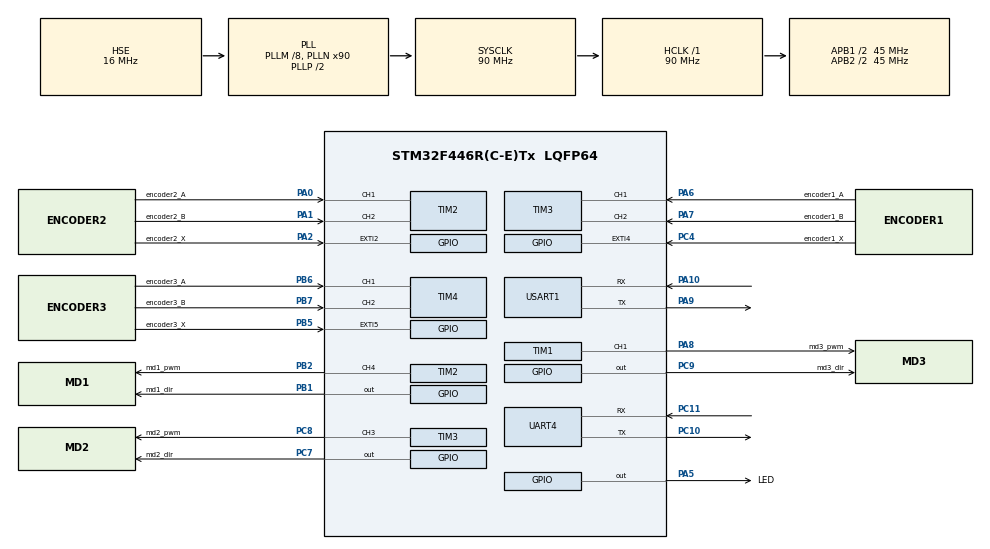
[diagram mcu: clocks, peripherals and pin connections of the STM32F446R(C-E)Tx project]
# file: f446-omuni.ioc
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Dma.Request0=UART4_TX
Dma.Request1=UART4_RX
Dma.UART4_RX.1.Direction=DMA_PERIPH_TO_MEMORY
Dma.UART4_RX.1.FIFOMode=DMA_FIFOMODE_DISABLE
Dma.UART4_RX.1.Instance=DMA1_Stream2
Dma.UART4_RX.1.MemDataAlignment=DMA_MDATAALIGN_BYTE
Dma.UART4_RX.1.MemInc=DMA_MINC_ENABLE
Dma.UART4_RX.1.Mode=DMA_CIRCULAR
Dma.UART4_RX.1.PeriphDataAlignment=DMA_PDATAALIGN_BYTE
Dma.UART4_RX.1.PeriphInc=DMA_PINC_DISABLE
Dma.UART4_RX.1.Priority=DMA_PRIORITY_VERY_HIGH
Dma.UART4_TX.0.Direction=DMA_MEMORY_TO_PERIPH
Dma.UART4_TX.0.FIFOMode=DMA_FIFOMODE_DISABLE
Dma.UART4_TX.0.Instance=DMA1_Stream4
Dma.UART4_TX.0.MemDataAlignment=DMA_MDATAALIGN_BYTE
Dma.UART4_TX.0.MemInc=DMA_MINC_ENABLE
Dma.UART4_TX.0.Mode=DMA_NORMAL
Dma.UART4_TX.0.PeriphDataAlignment=DMA_PDATAALIGN_BYTE
Dma.UART4_TX.0.PeriphInc=DMA_PINC_DISABLE
Dma.UART4_TX.0.Priority=DMA_PRIORITY_VERY_HIGH
FREERTOS.Tasks01=defaultTask,24,3000,StartDefaultTask,Default,NULL,Static,defaultTaskBuffer,defaultTaskControlBlock
FREERTOS.configMINIMAL_STACK_SIZE=3000
FREERTOS.configUSE_NEWLIB_REENTRANT=1
Mcu.Family=STM32F4
Mcu.Name=STM32F446R(C-E)Tx
Mcu.Package=LQFP64
NVIC.DMA1_Stream2_IRQn=true\:5\:0\:false\:false\:true\:true\:false\:true\:true
NVIC.DMA1_Stream4_IRQn=true\:5\:0\:false\:false\:true\:true\:false\:true\:true
NVIC.EXTI2_IRQn=true\:5\:0\:false\:false\:true\:true\:true\:true\:true
NVIC.EXTI4_IRQn=true\:5\:0\:false\:false\:true\:true\:true\:true\:true
NVIC.EXTI9_5_IRQn=true\:5\:0\:false\:false\:true\:true\:true\:true\:true
NVIC.PriorityGroup=NVIC_PRIORITYGROUP_4
NVIC.TIM8_TRG_COM_TIM14_IRQn=true\:15\:0\:false\:false\:true\:false\:false\:true\:true
NVIC.TimeBase=TIM8_TRG_COM_TIM14_IRQn
NVIC.TimeBaseIP=TIM14
NVIC.UART4_IRQn=true\:5\:0\:false\:false\:true\:true\:true\:true\:true
NVIC.USART1_IRQn=true\:5\:0\:false\:false\:true\:true\:true\:true\:true
PA0-WKUP.GPIO_Label=encoder2_A
PA0-WKUP.Signal=S_TIM2_CH1_ETR
PA1.GPIO_Label=encoder2_B
PA1.Signal=S_TIM2_CH2
PA10.Mode=Asynchronous
PA10.Signal=USART1_RX
PA13.Mode=Serial_Wire
PA13.Signal=SYS_JTMS-SWDIO
PA14.Mode=Serial_Wire
PA14.Signal=SYS_JTCK-SWCLK
PA2.GPIO_Label=encoder2_X
PA2.Signal=GPXTI2
PA5.GPIO_Label=LED
PA5.Signal=GPIO_Output
PA6.GPIO_Label=encoder1_A
PA6.Signal=S_TIM3_CH1
PA7.GPIO_Label=encoder1_B
PA7.Signal=S_TIM3_CH2
PA8.GPIO_Label=md3_pwm
PA8.Signal=S_TIM1_CH1
PA9.Mode=Asynchronous
PA9.Signal=USART1_TX
PB1.GPIO_Label=md1_dir
PB1.Signal=GPIO_Output
PB2.GPIO_Label=md1_pwm
PB2.Signal=S_TIM2_CH4
PB5.GPIO_Label=encoder3_X
PB5.Signal=GPXTI5
PB6.GPIO_Label=encoder3_A
PB6.Signal=S_TIM4_CH1
PB7.GPIO_Label=encoder3_B
PB7.Signal=S_TIM4_CH2
PC10.Mode=Asynchronous
PC10.Signal=UART4_TX
PC11.Mode=Asynchronous
PC11.Signal=UART4_RX
PC4.GPIO_Label=encoder1_X
PC4.Signal=GPXTI4
PC7.GPIO_Label=md2_dir
PC7.Signal=GPIO_Output
PC8.GPIO_Label=md2_pwm
PC8.Signal=S_TIM3_CH3
PC9.GPIO_Label=md3_dir
PC9.Signal=GPIO_Output
PH0-OSC_IN.Mode=HSE-External-Oscillator
PH0-OSC_IN.Signal=RCC_OSC_IN
PH1-OSC_OUT.Mode=HSE-External-Oscillator
PH1-OSC_OUT.Signal=RCC_OSC_OUT
ProjectManager.HeapSize=0x200
ProjectManager.StackSize=0x400
ProjectManager.TargetToolchain=STM32CubeIDE
RCC.AHBFreq_Value=90000000
RCC.APB1CLKDivider=RCC_HCLK_DIV2
RCC.APB1Freq_Value=45000000
RCC.APB1TimFreq_Value=90000000
RCC.APB2CLKDivider=RCC_HCLK_DIV2
RCC.APB2Freq_Value=45000000
RCC.APB2TimFreq_Value=90000000
RCC.CortexFreq_Value=90000000
RCC.HCLKFreq_Value=90000000
RCC.HSE_VALUE=16000000
RCC.PLLM=8
RCC.PLLN=90
RCC.PLLSourceVirtual=RCC_PLLSOURCE_HSE
RCC.RCC_RTC_Clock_SourceVirtual=RCC_RTCCLKSOURCE_LSE
RCC.SYSCLKFreq_VALUE=90000000
RCC.SYSCLKSource=RCC_SYSCLKSOURCE_PLLCLK
RCC.USBFreq_Value=90000000
RCC.VCOOutputFreq_Value=180000000
SH.S_TIM1_CH1.0=TIM1_CH1,PWM Generation1 CH1
SH.S_TIM2_CH1_ETR.0=TIM2_CH1,Encoder_Interface
SH.S_TIM2_CH2.0=TIM2_CH2,Encoder_Interface
SH.S_TIM2_CH4.0=TIM2_CH4,PWM Generation4 CH4
SH.S_TIM3_CH1.0=TIM3_CH1,Encoder_Interface
SH.S_TIM3_CH2.0=TIM3_CH2,Encoder_Interface
SH.S_TIM3_CH3.0=TIM3_CH3,PWM Generation3 CH3
SH.S_TIM4_CH1.0=TIM4_CH1,Encoder_Interface
SH.S_TIM4_CH2.0=TIM4_CH2,Encoder_Interface
TIM1.Channel-PWM\ Generation1\ CH1=TIM_CHANNEL_1
TIM2.Channel-PWM\ Generation4\ CH4=TIM_CHANNEL_4
TIM2.EncoderMode=TIM_ENCODERMODE_TI12
TIM3.Channel-PWM\ Generation3\ CH3=TIM_CHANNEL_3
TIM3.EncoderMode=TIM_ENCODERMODE_TI12
TIM4.EncoderMode=TIM_ENCODERMODE_TI12
UART4.VirtualMode=Asynchronous
USART1.VirtualMode=VM_ASYNC
VP_FREERTOS_VS_CMSIS_V2.Mode=CMSIS_V2
VP_SYS_VS_tim14.Mode=TIM14
board=custom

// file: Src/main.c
/* USER CODE BEGIN Header */
/**
  ******************************************************************************
  * @file           : main.c
  * @brief          : Main program body
  ******************************************************************************
  * @attention
  *
  * Copyright (c) 2025 STMicroelectronics.
  * All rights reserved.
  *
  * This software is licensed under terms that can be found in the LICENSE file
  * in the root directory of this software component.
  * If no LICENSE file comes with this software, it is provided AS-IS.
  *
  ******************************************************************************
  */
/* USER CODE END Header */
#include "main.h"
#include "cmsis_os.h"
#include "dma.h"
#include "tim.h"
#include "usart.h"
#include "gpio.h"

/* USER CODE BEGIN Includes */
#include <stdbool.h>
/* USER CODE END Includes */

void SystemClock_Config(void);
void MX_FREERTOS_Init(void);

/* USER CODE BEGIN 0 */

int _write(int file, char *ptr, int len) {
	HAL_UART_Transmit(&huart1, (uint8_t*) ptr, len, 10);
	return len;
}

/* USER CODE END 0 */

int main(void)
{

  /* MCU Configuration--------------------------------------------------------*/

  /* Reset of all peripherals, Initializes the Flash interface and the Systick. */
  HAL_Init();

  /* Configure the system clock */
  SystemClock_Config();

  /* Initialize all configured peripherals */
  MX_GPIO_Init();
  MX_DMA_Init();
  MX_TIM1_Init();
  MX_TIM2_Init();
  MX_TIM3_Init();
  MX_TIM4_Init();
  MX_USART1_UART_Init();
  MX_UART4_Init();

  /* Init scheduler */
  osKernelInitialize();

  /* Call init function for freertos objects (in cmsis_os2.c) */
  MX_FREERTOS_Init();

  /* Start scheduler */
  osKernelStart();

  /* We should never get here as control is now taken by the scheduler */

  /* Infinite loop */
  while (1)
  {

  }
}

void SystemClock_Config(void)
{
  RCC_OscInitTypeDef RCC_OscInitStruct = {0};
  RCC_ClkInitTypeDef RCC_ClkInitStruct = {0};

  /** Configure the main internal regulator output voltage
  */
  __HAL_RCC_PWR_CLK_ENABLE();
  __HAL_PWR_VOLTAGESCALING_CONFIG(PWR_REGULATOR_VOLTAGE_SCALE3);

  /** Initializes the RCC Oscillators according to the specified parameters
  * in the RCC_OscInitTypeDef structure.
  */
  RCC_OscInitStruct.OscillatorType = RCC_OSCILLATORTYPE_HSE;
  RCC_OscInitStruct.HSEState = RCC_HSE_ON;
  RCC_OscInitStruct.PLL.PLLState = RCC_PLL_ON;
  RCC_OscInitStruct.PLL.PLLSource = RCC_PLLSOURCE_HSE;
  RCC_OscInitStruct.PLL.PLLM = 8;
  RCC_OscInitStruct.PLL.PLLN = 90;
  RCC_OscInitStruct.PLL.PLLP = RCC_PLLP_DIV2;
  RCC_OscInitStruct.PLL.PLLQ = 2;
  RCC_OscInitStruct.PLL.PLLR = 2;
  if (HAL_RCC_OscConfig(&RCC_OscInitStruct) != HAL_OK)
  {
    Error_Handler();
  }

  /** Initializes the CPU, AHB and APB buses clocks
  */
  RCC_ClkInitStruct.ClockType = RCC_CLOCKTYPE_HCLK|RCC_CLOCKTYPE_SYSCLK
                              |RCC_CLOCKTYPE_PCLK1|RCC_CLOCKTYPE_PCLK2;
  RCC_ClkInitStruct.SYSCLKSource = RCC_SYSCLKSOURCE_PLLCLK;
  RCC_ClkInitStruct.AHBCLKDivider = RCC_SYSCLK_DIV1;
  RCC_ClkInitStruct.APB1CLKDivider = RCC_HCLK_DIV2;
  RCC_ClkInitStruct.APB2CLKDivider = RCC_HCLK_DIV2;

  if (HAL_RCC_ClockConfig(&RCC_ClkInitStruct, FLASH_LATENCY_2) != HAL_OK)
  {
    Error_Handler();
  }
}

void HAL_TIM_PeriodElapsedCallback(TIM_HandleTypeDef *htim)
{
  if (htim->Instance == TIM14)
  {
    HAL_IncTick();
  }
}

void Error_Handler(void)
{
  __disable_irq();
  while (1)
  {
  }
}

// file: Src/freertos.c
/* USER CODE BEGIN Header */
/**
  ******************************************************************************
  * File Name          : freertos.c
  * Description        : Code for freertos applications
  ******************************************************************************
  * @attention
  *
  * Copyright (c) 2025 STMicroelectronics.
  * All rights reserved.
  *
  * This software is licensed under terms that can be found in the LICENSE file
  * in the root directory of this software component.
  * If no LICENSE file comes with this software, it is provided AS-IS.
  *
  ******************************************************************************
  */
/* USER CODE END Header */

#include "FreeRTOS.h"
#include "task.h"
#include "main.h"
#include "cmsis_os.h"

/* USER CODE BEGIN Includes */
#include <stdbool.h>
#include <rcl/rcl.h>
#include <rcl/error_handling.h>
#include <rclc/rclc.h>
#include <rclc/executor.h>
#include <uxr/client/transport.h>
#include <rmw_microxrcedds_c/config.h>
#include <rmw_microros/rmw_microros.h>
#include <std_msgs/msg/int32.h>
#include <std_msgs/msg/string.h>
#include <std_msgs/msg/int32_multi_array.h>
#include <rosidl_runtime_c/string_functions.h>
#include "usart.h"
#include "stm32f4xx_hal.h"
#include "string.h"
/* USER CODE END Includes */

typedef StaticTask_t osStaticThreadDef_t;
/* USER CODE BEGIN PTD */
#define RCCHECK(fn) { rcl_ret_t temp_rc = fn; if((temp_rc != RCL_RET_OK)){printf("Failed status on line %d: %d. Aborting.\n",__LINE__,(int)temp_rc);}}
#define RCSOFTCHECK(fn) { rcl_ret_t temp_rc = fn; if((temp_rc != RCL_RET_OK)){printf("Failed status on line %d: %d. Continuing.\n",__LINE__,(int)temp_rc);}}

typedef struct {
	int32_t rpm[3];
}MotorTargetRPM_t;
/* USER CODE END PTD */

/* USER CODE BEGIN PD */
//micro-ROS関連グローバル変数
rcl_publisher_t encoder_rpm_publisher;
rcl_subscription_t pwm_control_subscriber;
std_msgs__msg__Int32MultiArray encoder_rpm_msg; //encder_rpmトピック
std_msgs__msg__Int32MultiArray pwm_control_msg; //pwm_controlトピック
rclc_executor_t executor;
rcl_allocator_t allocator;
rclc_support_t support;
rcl_node_t node;

// エンコーダ関連
volatile int32_t encoder_counts[3] = {0, 0, 0}; // 現在のエンコーダカウント
volatile int32_t prev_encoder_counts[3] = {0, 0, 0}; // 前回のエンコーダカウント
volatile uint32_t last_rpm_calc_time[3] = {0, 0, 0}; // RPM計算時の最終時刻
const float RPM_CALC_INTERVAL_S = 0.1f; // RPM計算周期 (秒) - 100ms
const int RPM_CALC_INTERVAL_MS = 100;   // RPM計算周期 (ミリ秒)

// PWM制御関連
const uint32_t PWM_MAX_DUTY = 1000; // PWMタイマーのARR値 (例:1000) - CubeMX設定と一致させる

/* USER CODE END PD */

/* USER CODE BEGIN Variables */
osThreadId_t motorControlTaskHandle;
uint32_t motorControlTaskBuffer[3000];
osStaticThreadDef_t motorControlTaskControlBlock;
const osThreadAttr_t motorControlTask_attributes = {
  .name = "motorControlTask",
  .cb_mem = &motorControlTaskControlBlock,
  .cb_size = sizeof(motorControlTaskControlBlock),
  .stack_mem = &motorControlTaskBuffer[0],
  .stack_size = sizeof(motorControlTaskBuffer),
  .priority = (osPriority_t) osPriorityNormal,
};

osThreadId_t encoderTaskHandle;
uint32_t encoderTaskBuffer[3000];
osStaticThreadDef_t encoderTaskControlBlock;
const osThreadAttr_t encoderTask_attributes = {
  .name = "encoderTask",
  .cb_mem = &encoderTaskControlBlock,
  .cb_size = sizeof(encoderTaskControlBlock),
  .stack_mem = &encoderTaskBuffer[0],
  .stack_size = sizeof(encoderTaskBuffer),
  .priority = (osPriority_t) osPriorityBelowNormal, // micro-ROSより少し低くても良い
};

osMessageQueueId_t motorTargetRPMQueueHandle;
/* USER CODE END Variables */
/* Definitions for defaultTask */
osThreadId_t defaultTaskHandle;
uint32_t defaultTaskBuffer[ 3000 ];
osStaticThreadDef_t defaultTaskControlBlock;
const osThreadAttr_t defaultTask_attributes = {
  .name = "defaultTask",
  .cb_mem = &defaultTaskControlBlock,
  .cb_size = sizeof(defaultTaskControlBlock),
  .stack_mem = &defaultTaskBuffer[0],
  .stack_size = sizeof(defaultTaskBuffer),
  .priority = (osPriority_t) osPriorityNormal,
};

/* USER CODE BEGIN FunctionPrototypes */
bool cubemx_transport_open(struct uxrCustomTransport * transport);
bool cubemx_transport_close(struct uxrCustomTransport * transport);
size_t cubemx_transport_write(struct uxrCustomTransport* transport, const uint8_t * buf, size_t len, uint8_t * err);
size_t cubemx_transport_read(struct uxrCustomTransport* transport, uint8_t* buf, size_t len, int timeout, uint8_t* err);

void * microros_allocate(size_t size, void * state);
void microros_deallocate(void * pointer, void * state);
void * microros_reallocate(void * pointer, size_t size, void * state);
void * microros_zero_allocate(size_t number_of_elements, size_t size_of_element, void * state);

void StartMotorControlTask(void *argument);
void StartEncoderTask(void *argument);

// PWM制御コールバック関数
void pwm_control_callback(const void *msgin);
// Helper function to set motor speed and direction
void set_motor_speed(uint8_t motor_index, int32_t rpm);
/* USER CODE END FunctionPrototypes */

void StartDefaultTask(void *argument);

void MX_FREERTOS_Init(void); /* (MISRA C 2004 rule 8.1) */

void MX_FREERTOS_Init(void) {

  /* USER CODE BEGIN RTOS_QUEUES */
	motorTargetRPMQueueHandle = osMessageQueueNew(5, sizeof(MotorTargetRPM_t), NULL);
	  if (motorTargetRPMQueueHandle == NULL) {
	      printf("Failed to create motorTargetRPMQueueHandle\n");
	      while(1);
	  }
  /* USER CODE END RTOS_QUEUES */

  /* Create the thread(s) */
  /* creation of defaultTask */
  defaultTaskHandle = osThreadNew(StartDefaultTask, NULL, &defaultTask_attributes);

  /* USER CODE BEGIN RTOS_THREADS */
  motorControlTaskHandle = osThreadNew(StartMotorControlTask, NULL, &motorControlTask_attributes);
    encoderTaskHandle = osThreadNew(StartEncoderTask, NULL, &encoderTask_attributes);
    if (motorControlTaskHandle == NULL || encoderTaskHandle == NULL) {
  	  printf("Failed to create tasks\n");
  	  while(1);
    }
  /* USER CODE END RTOS_THREADS */

}

void StartDefaultTask(void *argument)
{
  /* USER CODE BEGIN StartDefaultTask */
	// micro-ROSの設定
	  rmw_uros_set_custom_transport(
	    true,
		(void *) &huart4,
		cubemx_transport_open,
		cubemx_transport_close,
		cubemx_transport_write,
		cubemx_transport_read
	  );

	  rcl_allocator_t freeRTOS_allocator = rcutils_get_zero_initialized_allocator();
	  freeRTOS_allocator.allocate = microros_allocate;
	  freeRTOS_allocator.deallocate = microros_deallocate;
	  freeRTOS_allocator.reallocate = microros_reallocate;
	  freeRTOS_allocator.zero_allocate =  microros_zero_allocate;

	  if (!rcutils_set_default_allocator(&freeRTOS_allocator)) {
	    printf("Error on default allocators (line %d)\n", __LINE__);
	  }

	  // micro-ROSのセットアップ
	  allocator = rcl_get_default_allocator();
	  node = rcl_get_zero_initialized_node();
	  //初期化設定の作成
	  RCCHECK(rclc_support_init(&support, 0, NULL, &allocator));
	  //ノードの作成
	  RCCHECK(rclc_node_init_default(&node, "f446_omuni_node", "", &support));
	  //encoder_rpm publisherの作成
	  RCCHECK(rclc_publisher_init_default(
	    &encoder_rpm_publisher,
	    &node,
	    ROSIDL_GET_MSG_TYPE_SUPPORT(std_msgs, msg, Int32MultiArray),
	    "/encoder_rpm"));

	  //pwm_control subscriberの作成
	  RCCHECK(rclc_subscription_init_default(
		  &pwm_control_subscriber,
		  &node,
		  ROSIDL_GET_MSG_TYPE_SUPPORT(std_msgs, msg, Int32MultiArray),
		  "/pwm_control"));

	  // Initialize messages
	    // /encoder_rpm message
	    static int32_t encoder_rpm_data_buffer[3]; // Ensure buffer is valid for message lifetime
	    encoder_rpm_msg.data.data = encoder_rpm_data_buffer;
	    encoder_rpm_msg.data.size = 0; // Will be set to 3 before publishing
	    encoder_rpm_msg.data.capacity = 3;
	    //std_msgs__msg__Int32MultiArray__init(&encoder_rpm_msg); // More robust initialization if available

	    // /pwm_control message
	    static int32_t pwm_control_data_buffer[3]; // Buffer for incoming data
	    pwm_control_msg.data.data = pwm_control_data_buffer;
	    pwm_control_msg.data.size = 0;
	    pwm_control_msg.data.capacity = 3;
	    //std_msgs__msg__Int32MultiArray__init(&pwm_control_msg);

	    // create executor
	    RCCHECK(rclc_executor_init(&executor, &support.context, 1, &allocator)); // 1 handle for subscriber
	    RCCHECK(rclc_executor_add_subscription(&executor, &pwm_control_subscriber, &pwm_control_msg, &pwm_control_callback, ON_NEW_DATA));

	    printf("micro-ROS DefaultTask initialized.\n");
  for(;;)
  {
	  rclc_executor_spin_some(&executor, RCL_MS_TO_NS(10)); // 10ms timeout
	  osDelay(10); // Yield for other tasks
  }
  /* USER CODE END StartDefaultTask */
}

/* USER CODE BEGIN Application */
void StartMotorControlTask(void *argument)
{
  /* USER CODE BEGIN StartMotorControlTask */
  MotorTargetRPM_t received_rpms;
  printf("MotorControlTask started.\n");

  // Start PWM for all motors
  HAL_TIM_PWM_Start(MD1_PWM_TIMER, MD1_PWM_CHANNEL);
  HAL_TIM_PWM_Start(MD2_PWM_TIMER, MD2_PWM_CHANNEL);
  HAL_TIM_PWM_Start(MD3_PWM_TIMER, MD3_PWM_CHANNEL);

  /* Infinite loop */
  for(;;)
  {
    if (osMessageQueueGet(motorTargetRPMQueueHandle, &received_rpms, NULL, osWaitForever) == osOK) {
        printf("MotorControlTask: Received RPMs: M1=%ld, M2=%ld, M3=%ld\n", received_rpms.rpm[0], received_rpms.rpm[1], received_rpms.rpm[2]);
        set_motor_speed(0, received_rpms.rpm[0]); // Motor 1
        set_motor_speed(1, received_rpms.rpm[1]); // Motor 2
        set_motor_speed(2, received_rpms.rpm[2]); // Motor 3
    }
  }
  /* USER CODE END StartMotorControlTask */
}
void StartEncoderTask(void *argument)
{
  /* USER CODE BEGIN StartEncoderTask */
  printf("EncoderTask started.\n");

  // Start encoder timers
  HAL_TIM_Encoder_Start(ENC1_TIMER, TIM_CHANNEL_ALL);
  HAL_TIM_Encoder_Start(ENC2_TIMER, TIM_CHANNEL_ALL);
  HAL_TIM_Encoder_Start(ENC3_TIMER, TIM_CHANNEL_ALL);

  // Initialize last calculation time
  for (int i=0; i<3; ++i) {
      last_rpm_calc_time[i] = HAL_GetTick();
      prev_encoder_counts[i] = 0; // Or read initial counter value
      if (i==0) prev_encoder_counts[i] = __HAL_TIM_GET_COUNTER(ENC1_TIMER);
      if (i==1) prev_encoder_counts[i] = __HAL_TIM_GET_COUNTER(ENC2_TIMER);
      if (i==2) prev_encoder_counts[i] = __HAL_TIM_GET_COUNTER(ENC3_TIMER);
  }

  /* Infinite loop */
  for(;;)
  {
    uint32_t current_time = HAL_GetTick();
    bool publish_now = false;

    // RPM Calculation (example for one encoder, repeat for all 3)
    // For simplicity, assume all calculations happen close enough in time
    // A more robust way would be per-encoder timing.
    if ( (current_time - last_rpm_calc_time[0]) >= RPM_CALC_INTERVAL_MS ) { // Check for encoder 0, assume others are similar
        publish_now = true;
        for(int i=0; i<3; ++i) {
            TIM_HandleTypeDef* current_enc_timer;
            if (i==0) current_enc_timer = ENC1_TIMER;
            else if (i==1) current_enc_timer = ENC2_TIMER;
            else current_enc_timer = ENC3_TIMER;

            int32_t current_raw_count = (int16_t)__HAL_TIM_GET_COUNTER(current_enc_timer); // Read as signed 16-bit
            int32_t count_diff = current_raw_count - (int16_t)(prev_encoder_counts[i] & 0xFFFF); // Handle wrap-around for 16-bit timer

            if (count_diff > (PULSES_PER_REV / 2) && count_diff > 0) { // Heuristic for underflow with 16-bit counter
                 count_diff -= 65536; // Timer counted down past 0
            } else if (count_diff < -(PULSES_PER_REV / 2) && count_diff < 0) { // Heuristic for overflow
                 count_diff += 65536; // Timer counted up past 65535
            }

            uint32_t time_diff_ms = current_time - last_rpm_calc_time[i];
            if (time_diff_ms == 0) time_diff_ms = 1; // Avoid division by zero

            // RPM = (pulses / pulses_per_rev) / (time_ms / 1000 / 60)
            // RPM = (pulses * 60000) / (pulses_per_rev * time_ms)
            encoder_rpm_msg.data.data[i] = (int32_t)(( (float)count_diff * 60000.0f) / ( (float)PULSES_PER_REV * (float)time_diff_ms ));

            prev_encoder_counts[i] = current_raw_count;
            last_rpm_calc_time[i] = current_time;
        }
    }

    if (publish_now) {
        encoder_rpm_msg.data.size = 3;
        RCSOFTCHECK(rcl_publish(&encoder_rpm_publisher, &encoder_rpm_msg, NULL));
        printf("EncoderTask: Published RPMs: M1=%ld, M2=%ld, M3=%ld\n", encoder_rpm_msg.data.data[0], encoder_rpm_msg.data.data[1], encoder_rpm_msg.data.data[2]);
    }
    osDelay(10);
  }
  /* USER CODE END StartEncoderTask */
}

/* USER CODE END Application */
